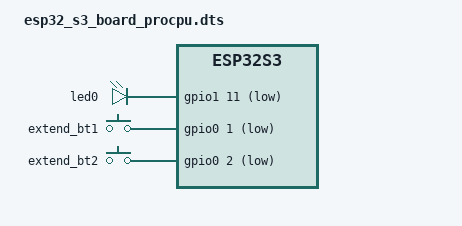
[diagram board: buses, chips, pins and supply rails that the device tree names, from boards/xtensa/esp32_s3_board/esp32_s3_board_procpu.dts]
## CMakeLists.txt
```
# SPDX-License-Identifier: Apache-2.0

cmake_minimum_required(VERSION 3.28.0)
set(BOARD_ROOT ${CMAKE_CURRENT_SOURCE_DIR})
find_package(Zephyr REQUIRED HINTS $ENV{ZEPHYR_BASE})
project(02_input)

target_sources(app PRIVATE src/main.c)
```

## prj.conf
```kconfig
# GPIO
CONFIG_GPIO=y

# INPUT
CONFIG_INPUT=y
CONFIG_INPUT_GPIO_KEYS=y
```

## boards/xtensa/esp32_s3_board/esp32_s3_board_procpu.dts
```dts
/dts-v1/;

#include <espressif/esp32s3/esp32s3_wroom_n8r8.dtsi>
#include <espressif/partitions_0x0_amp.dtsi>
#include<zephyr/dt-bindings/input/input-event-codes.h>
/* root device tree*/
// hardware object nood
// container nood
// leds/led_0 -> led0

/ {
    leds {
        compatible = "gpio-leds";
        led0: led_0 {
            gpios = <&gpio1 11 GPIO_ACTIVE_LOW>;
        };
    };

    gpio_keys: gpio-keys {
        compatible = "gpio-keys";
        debounce-interval-ms = <20>;
        
        extend_bt1: e_bt1{
            gpios = <&gpio0 1 (GPIO_ACTIVE_LOW | GPIO_PULL_UP)>;
            zephyr,code = <INPUT_KEY_A>;
        };
        extend_bt2: e_bt2{
            gpios = <&gpio0 2 (GPIO_ACTIVE_LOW | GPIO_PULL_UP)>;
            zephyr,code = <INPUT_KEY_B>;
        };
    };

    aliases {
        led0 = &led0;
    };

    chosen {
        zephyr,sram = &sram1;
        zephyr,flash = &flash0;  
        zephyr,console = &uart0;      
    };

};

&gpio1 {
    status = "okay";
};
&gpio0 {
    status = "okay";
};

/* esp32 clock is done defult
&clock {
    clocks = <&fast-clk-src>;
    status = "okay";
};
*/

/* power is done defult
&pwr {

};
*/
```

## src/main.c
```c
/*
 * Copyright (c) 2016 Intel Corporation
 *
 * SPDX-License-Identifier: Apache-2.0
 */

#include <stdio.h>
#include <zephyr/kernel.h>
#include <zephyr/drivers/gpio.h>
#include <zephyr/input/input.h>

/* 1000 msec = 1 sec */
#define SLEEP_TIME_MS   1000

/* The devicetree node identifier for the "led0" alias. */
#define LED0_NODE DT_ALIAS(led0)

/*
 * A build error on this line means your board is unsupported.
 * See the sample documentation for information on how to fix this.
 */
static const struct gpio_dt_spec led0 = GPIO_DT_SPEC_GET(LED0_NODE, gpios);
static void input_event_callback(struct input_event *event, void *user_data)
{
	if (event->type != INPUT_EV_KEY)
	{
		return;
	}

	if ((event->code == INPUT_KEY_A) && (event->value == 0))
	{
		gpio_pin_toggle_dt(&led0);
	}

	if ((event->code == INPUT_KEY_B) && (event->value == 0))
	{
		gpio_pin_toggle_dt(&led0);
	}
}

INPUT_CALLBACK_DEFINE(DEVICE_DT_GET(DT_NODELABEL(gpio_keys)), input_event_callback, NULL);

int main(void)
{
	gpio_pin_configure_dt(&led0, GPIO_OUTPUT_ACTIVE);
	while (true)
	{
		k_msleep(SLEEP_TIME_MS);
	}

	return 0;
}
```
